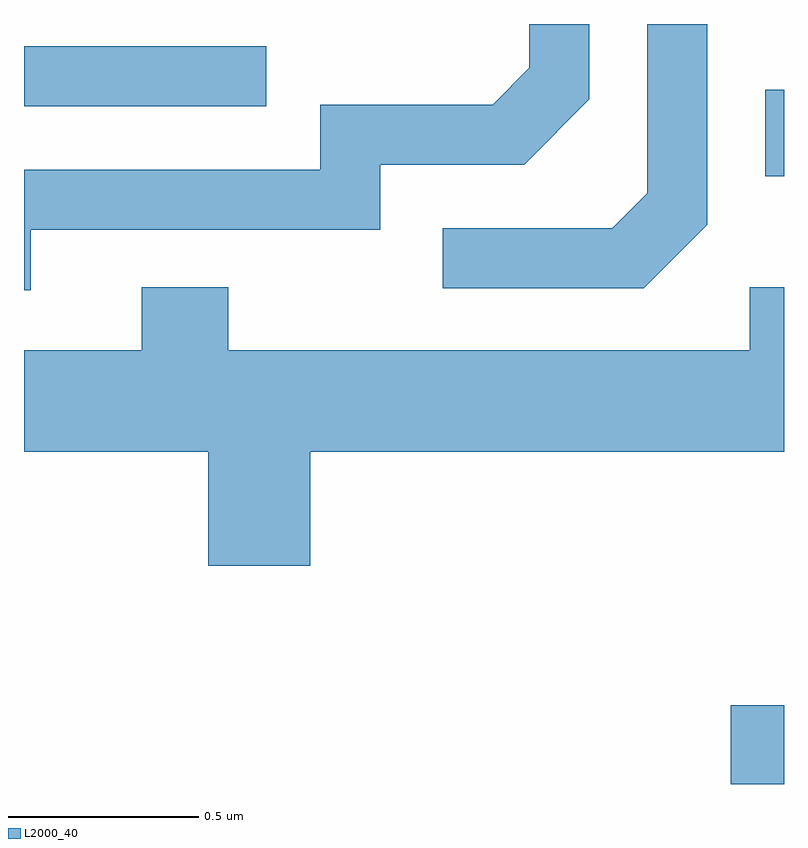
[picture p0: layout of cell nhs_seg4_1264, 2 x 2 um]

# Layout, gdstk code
import gdstk
lib = gdstk.Library(unit=1e-6, precision=1e-09)
def R(c, l, rs):  # rectangles x0, y0, x1, y1
    for r in rs: c.add(gdstk.rectangle(r[:2], r[2:], *l))
def P(c, l, *ps):  # polygons
    for p in ps: c.add(gdstk.Polygon(p, *l))
L2000_40 = (2000, 40)

nhs_seg4_1264 = lib.new_cell('nhs_seg4_1264')
R(nhs_seg4_1264, L2000_40, [(196.471,1284.982,196.611,1285.189), (196.561,1286.581,196.611,1286.809), (194.611,1286.766,195.248,1286.924)])
P(nhs_seg4_1264, L2000_40, [(196.409,1286.454),(196.409,1286.982),(196.251,1286.982),(196.251,1286.537),(196.159,1286.444),(195.713,1286.444),(195.713,1286.286),(196.242,1286.286)],
  [(194.629,1286.441),(195.549,1286.441),(195.549,1286.611),(195.927,1286.611),(196.099,1286.784),(196.099,1286.982),(195.941,1286.982),(195.941,1286.867),(195.844,1286.769),(195.391,1286.769),(195.391,1286.599),(194.611,1286.599),(194.611,1286.281),(194.629,1286.281)],
  [(195.364,1285.856),(196.611,1285.856),(196.611,1286.289),(196.521,1286.289),(196.521,1286.124),(195.149,1286.124),(195.149,1286.289),(194.921,1286.289),(194.921,1286.124),(194.611,1286.124),(194.611,1285.856),(195.096,1285.856),(195.096,1285.556),(195.364,1285.556)])

lib.write_gds('nhs_seg4_1264.gds')
